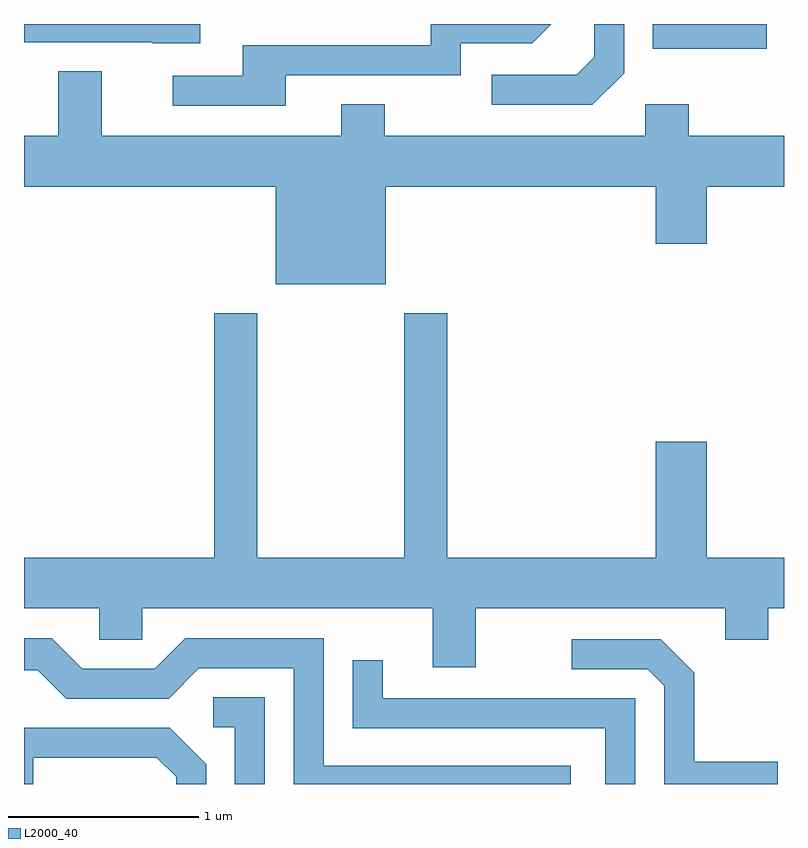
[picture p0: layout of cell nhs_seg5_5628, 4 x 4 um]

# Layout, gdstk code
import gdstk
lib = gdstk.Library(unit=1e-6, precision=1e-09)
def R(c, l, rs):  # rectangles x0, y0, x1, y1
    for r in rs: c.add(gdstk.rectangle(r[:2], r[2:], *l))
def P(c, l, *ps):  # polygons
    for p in ps: c.add(gdstk.Polygon(p, *l))
L2000_40 = (2000, 40)

nhs_seg5_5628 = lib.new_cell('nhs_seg5_5628')
R(nhs_seg5_5628, L2000_40, [(354.921,1481.941,355.519,1482.072)])
P(nhs_seg5_5628, L2000_40, [(354.769,1481.814),(354.769,1482.072),(354.611,1482.072),(354.611,1481.897),(354.519,1481.804),(354.073,1481.804),(354.073,1481.646),(354.602,1481.646)],
  [(352.539,1482.072),(351.611,1482.072),(351.611,1481.976),(352.285,1481.976),(352.285,1481.971),(352.539,1481.971)],
  [(352.989,1481.801),(353.909,1481.801),(353.909,1481.971),(354.287,1481.971),(354.387,1482.072),(353.751,1482.072),(353.751,1481.959),(352.761,1481.959),(352.761,1481.799),(352.393,1481.799),(352.393,1481.641),(352.989,1481.641)],
  [(353.514,1481.216),(354.936,1481.216),(354.936,1480.916),(355.204,1480.916),(355.204,1481.216),(355.611,1481.216),(355.611,1481.484),(355.109,1481.484),(355.109,1481.649),(354.881,1481.649),(354.881,1481.484),(353.509,1481.484),(353.509,1481.649),(353.281,1481.649),(353.281,1481.484),(352.019,1481.484),(352.019,1481.824),(351.791,1481.824),(351.791,1481.484),(351.611,1481.484),(351.611,1481.216),(352.936,1481.216),(352.936,1480.701),(353.514,1480.701)],
  [(353.989,1478.996),(355.301,1478.996),(355.301,1478.831),(355.529,1478.831),(355.529,1478.996),(355.611,1478.996),(355.611,1479.264),(355.204,1479.264),(355.204,1479.874),(354.936,1479.874),(354.936,1479.264),(353.839,1479.264),(353.839,1480.549),(353.611,1480.549),(353.611,1479.264),(352.839,1479.264),(352.839,1480.549),(352.611,1480.549),(352.611,1479.264),(351.611,1479.264),(351.611,1478.996),(352.006,1478.996),(352.006,1478.831),(352.234,1478.831),(352.234,1478.996),(353.761,1478.996),(353.761,1478.686),(353.989,1478.686)],
  [(354.489,1478.169),(353.189,1478.169),(353.189,1478.839),(352.459,1478.839),(352.299,1478.679),(351.917,1478.679),(351.757,1478.839),(351.611,1478.839),(351.611,1478.671),(351.684,1478.671),(351.834,1478.521),(352.372,1478.521),(352.532,1478.681),(353.031,1478.681),(353.031,1478.072),(354.489,1478.072)],
  [(355.579,1478.189),(355.139,1478.189),(355.139,1478.657),(354.962,1478.834),(354.493,1478.834),(354.493,1478.676),(354.894,1478.676),(354.981,1478.589),(354.981,1478.072),(355.579,1478.072)],
  [(354.829,1478.524),(353.499,1478.524),(353.499,1478.723),(353.341,1478.723),(353.341,1478.366),(354.671,1478.366),(354.671,1478.072),(354.829,1478.072)],
  [(352.879,1478.529),(352.608,1478.529),(352.608,1478.371),(352.721,1478.371),(352.721,1478.072),(352.879,1478.072)],
  [(351.659,1478.211),(352.309,1478.211),(352.411,1478.109),(352.411,1478.072),(352.569,1478.072),(352.569,1478.177),(352.377,1478.369),(351.611,1478.369),(351.611,1478.072),(351.659,1478.072)])

lib.write_gds('nhs_seg5_5628.gds')
